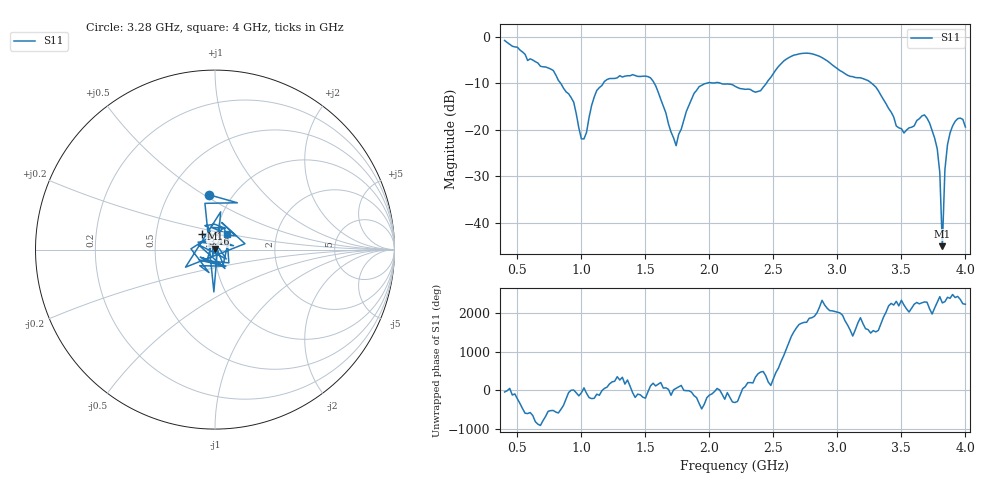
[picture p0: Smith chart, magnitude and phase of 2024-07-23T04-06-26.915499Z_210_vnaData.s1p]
!Created with skrf (http://scikit-rf.org).
# Hz S RI R 50.0
!freq ReS11 ImS11
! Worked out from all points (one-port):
!   181 points, 400 MHz to 4 GHz, reference 50 ohm
!   lowest |S11| = -45.0 dB at 3.82 GHz (marker M1), VSWR 1.01, Z = 50 + j0.564 ohm
!   |S11| at or under -10 dB: 1.57 GHz to 1.973 GHz (403.5 MHz wide, 22.8 % of centre); 2.09 GHz to 2.444 GHz (354.4 MHz wide, 15.6 % of centre); 3.268 GHz to end of sweep (the widest 3 of 4)
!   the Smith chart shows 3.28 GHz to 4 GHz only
!   S11 on the Smith chart (normalised r, x): 3.28 GHz: 0.78, +0.53; 3.46 GHz: 0.86, +0.15; 4 GHz: 1.12, +0.20
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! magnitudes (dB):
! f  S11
! 400 MHz  -0.8
! 780 MHz  -7.2
! 860 MHz  -11.0
! 940 MHz  -14.0
! 1 GHz  -21.9
! 1.02 GHz  -21.9
! 1.12 GHz  -11.5
! 1.3 GHz  -8.3
! 1.54 GHz  -8.8
! 1.74 GHz  -23.4
! 1.76 GHz  -20.9
! 1.92 GHz  -10.7
! 2.2 GHz  -10.6
! 2.4 GHz  -11.6
! 2.66 GHz  -3.9
! 2.86 GHz  -4.2
! 3.1 GHz  -8.5
! 3.28 GHz  -10.3
! 3.46 GHz  -19.1
! 3.56 GHz  -19.5
! 3.68 GHz  -16.8
! 3.76 GHz  -21.8
! 3.8 GHz  -29.2
! 3.82 GHz  -45.0
! 3.84 GHz  -28.5
! 3.86 GHz  -23.2
! 3.94 GHz  -17.6
! 4 GHz  -19.4
